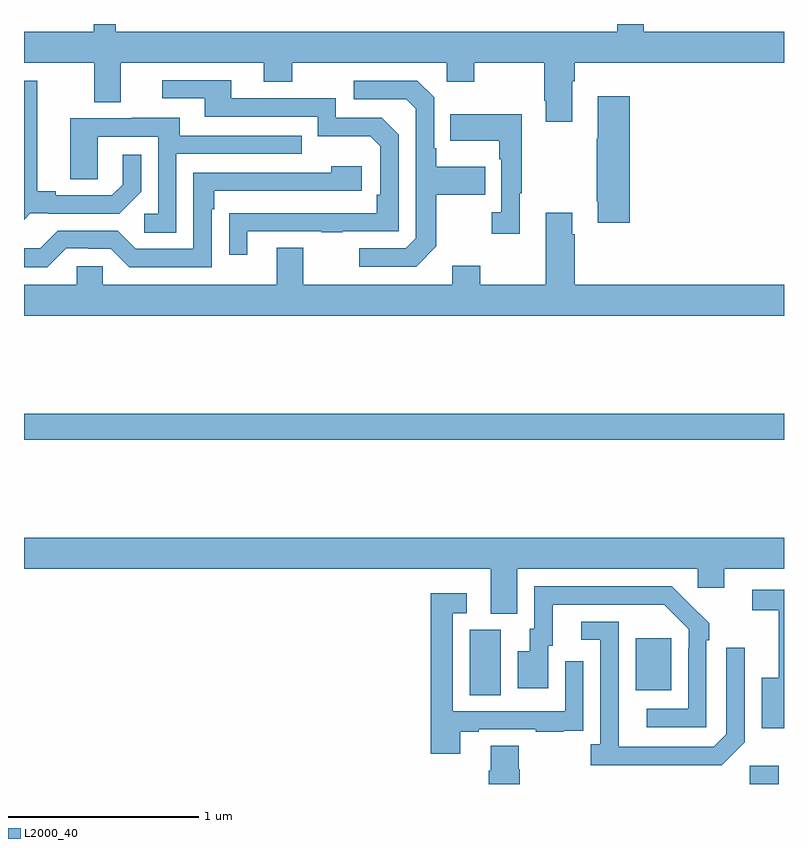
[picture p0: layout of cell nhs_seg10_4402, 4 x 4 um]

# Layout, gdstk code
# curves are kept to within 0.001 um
import gdstk
lib = gdstk.Library(unit=1e-6, precision=1e-09)
def R(c, l, rs):  # rectangles x0, y0, x1, y1
    for r in rs: c.add(gdstk.rectangle(r[:2], r[2:], *l))
def P(c, l, *ps):  # polygons
    for p in ps: c.add(gdstk.Polygon(p, *l))
L2000_40 = (2000, 40)

nhs_seg10_4402 = lib.new_cell('nhs_seg10_4402')
R(nhs_seg10_4402, L2000_40, [(362.82,1316.5,362.972,1316.596), (361.346,1316.968,361.51,1317.312), (362.219,1316.993,362.407,1317.268), (359,1318.312,363,1318.448)])
P(nhs_seg10_4402, L2000_40, [(361.885,1320.2),(361.898,1320.2),(361.898,1320.296),(363,1320.296),(363,1320.46),(362.263,1320.46),(362.263,1320.5),(362.123,1320.5),(362.123,1320.46),(359.483,1320.46),(359.483,1320.5),(359.367,1320.5),(359.367,1320.46),(359,1320.46),(359,1320.296),(359.369,1320.296),(359.369,1320.088),(359.509,1320.088),(359.509,1320.296),(360.263,1320.296),(360.263,1320.197),(360.411,1320.197),(360.411,1320.296),(361.224,1320.296),(361.224,1320.197),(361.371,1320.197),(361.371,1320.296),(361.738,1320.296),(361.738,1320.097),(361.745,1320.097),(361.745,1319.985),(361.885,1319.985)],
  [(360.175,1319.409),(360.565,1319.409),(360.565,1319.404),(360.677,1319.404),(360.677,1319.409),(360.972,1319.409),(360.972,1319.916),(360.882,1320.006),(360.642,1320.006),(360.642,1320.108),(360.091,1320.108),(360.091,1320.204),(359.727,1320.204),(359.727,1320.108),(359.951,1320.108),(359.951,1320.012),(360.546,1320.012),(360.546,1319.909),(360.823,1319.909),(360.876,1319.856),(360.876,1319.602),(360.856,1319.602),(360.856,1319.505),(360.079,1319.504),(360.079,1319.286),(360.175,1319.286)],
  [(359.034,1319.505),(359.128,1319.505),(359.128,1319.502),(359.5,1319.502),(359.616,1319.618),(359.616,1319.812),(359.519,1319.812),(359.519,1319.655),(359.462,1319.598),(359.167,1319.598),(359.167,1319.621),(359.071,1319.621),(359.071,1320.201),(359,1320.201),(359,1319.471)],
  [(361.171,1319.329),(361.171,1319.602),(361.427,1319.602),(361.427,1319.749),(361.171,1319.749),(361.171,1319.845),(361.158,1319.845),(361.158,1320.114),(361.071,1320.201),(360.735,1320.201),(360.735,1320.105),(361.011,1320.105),(361.062,1320.054),(361.062,1319.373),(361.008,1319.319),(360.765,1319.319),(360.765,1319.223),(361.065,1319.223)],
  [(362.189,1320.121),(362.021,1320.121),(362.021,1319.897),(362.014,1319.897),(362.014,1319.566),(362.021,1319.566),(362.021,1319.454),(362.189,1319.454)],
  [(361.609,1319.609),(361.621,1319.609),(361.621,1320.025),(361.243,1320.025),(361.243,1319.885),(361.5,1319.885),(361.5,1319.789),(361.512,1319.789),(361.512,1319.51),(361.461,1319.51),(361.461,1319.397),(361.609,1319.397)],
  [(359.802,1319.817),(360.461,1319.817),(360.461,1319.913),(359.821,1319.913),(359.821,1320.007),(359.567,1320.007),(359.567,1320.003),(359.243,1320.003),(359.243,1319.683),(359.388,1319.683),(359.388,1319.907),(359.706,1319.907),(359.706,1319.502),(359.634,1319.502),(359.634,1319.401),(359.802,1319.401)],
  [(359.223,1319.319),(359.339,1319.319),(359.339,1319.316),(359.457,1319.316),(359.553,1319.22),(359.988,1319.22),(359.988,1319.525),(360.001,1319.525),(360.001,1319.622),(360.778,1319.622),(360.778,1319.752),(360.617,1319.752),(360.617,1319.718),(359.892,1319.718),(359.892,1319.316),(359.589,1319.316),(359.493,1319.412),(359.178,1319.412),(359.085,1319.319),(359,1319.319),(359,1319.219),(359.123,1319.219)],
  [(363,1319.128),(361.898,1319.128),(361.898,1319.393),(361.885,1319.393),(361.885,1319.506),(361.745,1319.506),(361.745,1319.128),(361.401,1319.128),(361.401,1319.227),(361.253,1319.227),(361.253,1319.128),(360.469,1319.128),(360.469,1319.323),(360.329,1319.323),(360.329,1319.128),(359.415,1319.128),(359.415,1319.226),(359.277,1319.226),(359.277,1319.128),(359,1319.128),(359,1318.964),(363,1318.964)],
  [(361.597,1317.632),(362.547,1317.632),(362.547,1317.534),(362.686,1317.534),(362.686,1317.632),(363,1317.632),(363,1317.796),(359,1317.796),(359,1317.632),(361.457,1317.632),(361.457,1317.397),(361.597,1317.397)],
  [(362.592,1317.257),(362.607,1317.257),(362.607,1317.345),(362.41,1317.54),(361.686,1317.54),(361.686,1317.318),(361.661,1317.318),(361.661,1317.199),(361.598,1317.199),(361.598,1317.003),(361.759,1317.003),(361.759,1317.228),(361.783,1317.228),(361.783,1317.444),(362.371,1317.444),(362.499,1317.315),(362.499,1317.215),(362.496,1317.215),(362.496,1316.895),(362.277,1316.895),(362.277,1316.799),(362.592,1316.799)],
  [(363,1317.522),(362.832,1317.522),(362.832,1317.414),(362.972,1317.414),(362.972,1317.058),(362.882,1317.058),(362.882,1316.794),(363,1316.794)],
  [(361.297,1316.775),(361.393,1316.775),(361.393,1316.787),(361.693,1316.787),(361.693,1316.775),(361.841,1316.775),(361.841,1316.781),(361.943,1316.781),(361.943,1316.89),(361.944,1316.89),(361.944,1317.145),(361.848,1317.145),(361.848,1316.883),(361.257,1316.883),(361.257,1317.399),(361.33,1317.399),(361.33,1317.505),(361.141,1317.505),(361.141,1316.658),(361.297,1316.658)],
  [(362.793,1316.721),(362.793,1317.217),(362.697,1317.217),(362.697,1316.763),(362.631,1316.697),(362.131,1316.697),(362.13,1317.354),(361.932,1317.354),(361.932,1317.258),(362.034,1317.258),(362.034,1316.71),(361.983,1316.71),(361.983,1316.6),(362.672,1316.6)],
  [(361.61,1316.577),(361.605,1316.577),(361.605,1316.702),(361.457,1316.702),(361.457,1316.57),(361.445,1316.57),(361.445,1316.5),(361.61,1316.5)])

lib.write_gds('nhs_seg10_4402.gds')
